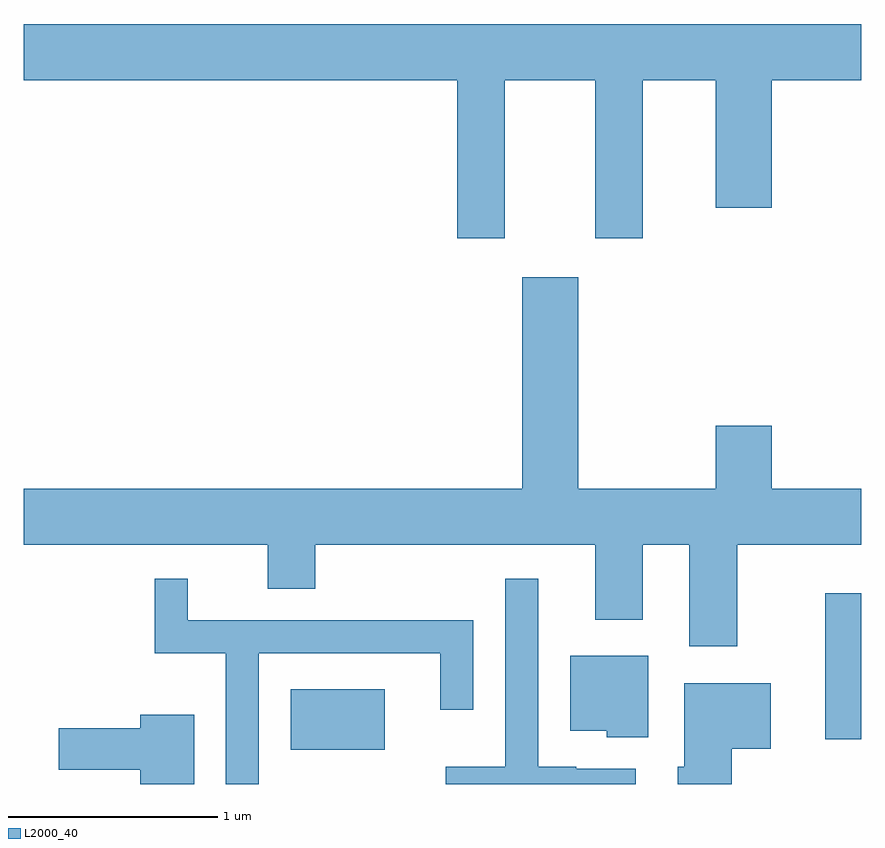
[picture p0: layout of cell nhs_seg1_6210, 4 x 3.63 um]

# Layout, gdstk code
import gdstk
lib = gdstk.Library(unit=1e-6, precision=1e-09)
def R(c, l, rs):  # rectangles x0, y0, x1, y1
    for r in rs: c.add(gdstk.rectangle(r[:2], r[2:], *l))
def P(c, l, *ps):  # polygons
    for p in ps: c.add(gdstk.Polygon(p, *l))
L2000_40 = (2000, 40)

nhs_seg1_6210 = lib.new_cell('nhs_seg1_6210')
R(nhs_seg1_6210, L2000_40, [(372.886,951.876,373.334,952.164), (375.441,951.926,375.611,952.624)])
P(nhs_seg1_6210, L2000_40, [(373.909,955.076),(374.341,955.076),(374.341,954.321),(374.569,954.321),(374.569,955.076),(374.916,955.076),(374.916,954.466),(375.184,954.466),(375.184,955.076),(375.611,955.076),(375.611,955.344),(371.611,955.344),(371.611,955.076),(373.681,955.076),(373.681,954.321),(373.909,954.321)],
  [(375.019,952.856),(375.611,952.856),(375.611,953.124),(375.184,953.124),(375.184,953.424),(374.916,953.424),(374.916,953.124),(374.259,953.124),(374.259,954.134),(373.991,954.134),(373.991,953.124),(371.611,953.124),(371.611,952.856),(372.776,952.856),(372.776,952.646),(373.004,952.646),(373.004,952.856),(374.341,952.856),(374.341,952.496),(374.569,952.496),(374.569,952.856),(374.791,952.856),(374.791,952.371),(375.019,952.371)],
  [(372.734,952.336),(373.601,952.336),(373.601,952.068),(373.759,952.068),(373.759,952.494),(372.394,952.494),(372.394,952.693),(372.236,952.693),(372.236,952.336),(372.576,952.336),(372.576,951.712),(372.734,951.712)],
  [(374.534,951.784),(374.25,951.784),(374.25,951.794),(374.069,951.794),(374.069,952.693),(373.911,952.693),(373.911,951.794),(373.626,951.794),(373.626,951.712),(374.534,951.712)],
  [(374.594,952.324),(374.221,952.324),(374.221,951.966),(374.396,951.966),(374.396,951.936),(374.594,951.936)],
  [(374.994,951.881),(375.179,951.881),(375.179,952.194),(374.766,952.194),(374.766,951.794),(374.736,951.794),(374.736,951.712),(374.994,951.712)],
  [(372.424,952.044),(372.166,952.044),(372.166,951.979),(371.776,951.979),(371.776,951.781),(372.166,951.781),(372.166,951.712),(372.424,951.712)])

lib.write_gds('nhs_seg1_6210.gds')
